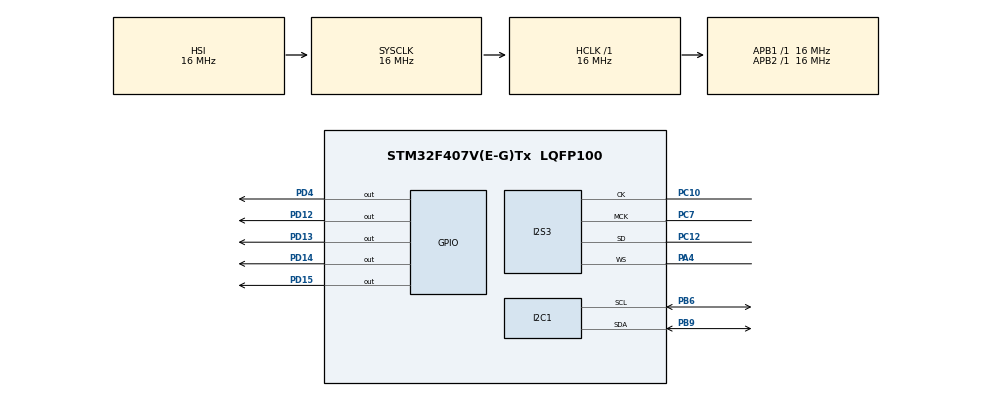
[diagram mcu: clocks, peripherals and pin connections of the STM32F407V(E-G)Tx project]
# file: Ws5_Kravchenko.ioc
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Dma.Request0=SPI3_TX
Dma.SPI3_TX.0.Direction=DMA_MEMORY_TO_PERIPH
Dma.SPI3_TX.0.FIFOMode=DMA_FIFOMODE_ENABLE
Dma.SPI3_TX.0.FIFOThreshold=DMA_FIFO_THRESHOLD_FULL
Dma.SPI3_TX.0.Instance=DMA1_Stream5
Dma.SPI3_TX.0.MemBurst=DMA_MBURST_SINGLE
Dma.SPI3_TX.0.MemDataAlignment=DMA_MDATAALIGN_HALFWORD
Dma.SPI3_TX.0.MemInc=DMA_MINC_ENABLE
Dma.SPI3_TX.0.Mode=DMA_CIRCULAR
Dma.SPI3_TX.0.PeriphBurst=DMA_PBURST_SINGLE
Dma.SPI3_TX.0.PeriphDataAlignment=DMA_PDATAALIGN_HALFWORD
Dma.SPI3_TX.0.PeriphInc=DMA_PINC_DISABLE
Dma.SPI3_TX.0.Priority=DMA_PRIORITY_LOW
I2S3.AudioFreq=I2S_AUDIOFREQ_48K
I2S3.ErrorAudioFreq=-2.34 %
I2S3.FullDuplexMode=I2S_FULLDUPLEXMODE_DISABLE
I2S3.Instance=SPI$Index
I2S3.RealAudioFreq=46.875 KHz
I2S3.VirtualMode=I2S_MODE_MASTER
Mcu.Family=STM32F4
Mcu.Name=STM32F407V(E-G)Tx
Mcu.Package=LQFP100
NVIC.DMA1_Stream5_IRQn=true\:0\:0\:false\:false\:true\:false\:true\:true
NVIC.PriorityGroup=NVIC_PRIORITYGROUP_4
PA4.Mode=Half_Duplex_Master
PA4.Signal=I2S3_WS
PB6.Mode=I2C
PB6.Signal=I2C1_SCL
PB9.Mode=I2C
PB9.Signal=I2C1_SDA
PC10.Mode=Half_Duplex_Master
PC10.Signal=I2S3_CK
PC12.Mode=Half_Duplex_Master
PC12.Signal=I2S3_SD
PC7.Mode=Master_Clock_Activated
PC7.Signal=I2S3_MCK
PD12.Signal=GPIO_Output
PD13.Signal=GPIO_Output
PD14.Signal=GPIO_Output
PD15.Signal=GPIO_Output
PD4.Signal=GPIO_Output
ProjectManager.HeapSize=0x200
ProjectManager.StackSize=0x400
ProjectManager.TargetToolchain=STM32CubeIDE
RCC.AHBFreq_Value=16000000
RCC.APB1Freq_Value=16000000
RCC.APB2Freq_Value=16000000
RCC.CortexFreq_Value=16000000
RCC.HSE_VALUE=25000000
RCC.HSI_VALUE=16000000
RCC.LSE_VALUE=32768
RCC.SYSCLKFreq_VALUE=16000000
RCC.VCOOutputFreq_Value=192000000
board=custom

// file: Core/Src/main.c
/* USER CODE BEGIN Header */
/**
  ******************************************************************************
  * @file           : main.c
  * @brief          : Main program body
  ******************************************************************************
  * @attention
  *
  * Copyright (c) 2024 STMicroelectronics.
  * All rights reserved.
  *
  * This software is licensed under terms that can be found in the LICENSE file
  * in the root directory of this software component.
  * If no LICENSE file comes with this software, it is provided AS-IS.
  *
  ******************************************************************************
  */
/* USER CODE END Header */
#include "main.h"

/* USER CODE BEGIN PTD */
typedef enum
{
	C4,
	C5,
	D5,
	E5,
	F5,
	G5,
	A5,
	B5,
	C6,
	D6,
	E6,
	F6,
	G6,
	A6,
	B6,
	C7
} soundToneType;
/* USER CODE END PTD */

/* USER CODE BEGIN PD */
#define CS43L22_I2C_ADDRESS		0x94
#define I2C_TIMEOUT				10
/* USER CODE END PD */

I2C_HandleTypeDef hi2c1;

I2S_HandleTypeDef hi2s3;
DMA_HandleTypeDef hdma_spi3_tx;

/* USER CODE BEGIN PV */
int16_t dataI2S[100] = {0};

/* USER CODE END PV */

void SystemClock_Config(void);
static void MX_GPIO_Init(void);
static void MX_DMA_Init(void);
static void MX_I2C1_Init(void);
static void MX_I2S3_Init(void);

/* USER CODE BEGIN 0 */
void CS43L22_Init(void)
{
	// Enable chip
	HAL_GPIO_WritePin(GPIOD, GPIO_PIN_4, GPIO_PIN_SET);

	//
	// Initialization
	//
	uint8_t TxBuffer[2];

	TxBuffer[0] = 0x0D;
	TxBuffer[1] = 0x01;
	HAL_I2C_Master_Transmit(&hi2c1, CS43L22_I2C_ADDRESS, (uint8_t*) &TxBuffer, 2, I2C_TIMEOUT);

	TxBuffer[0] = 0x00;
	TxBuffer[1] = 0x99;
	HAL_I2C_Master_Transmit(&hi2c1, CS43L22_I2C_ADDRESS, (uint8_t*) &TxBuffer, 2, I2C_TIMEOUT);

	TxBuffer[0] = 0x47;
	TxBuffer[1] = 0x80;
	HAL_I2C_Master_Transmit(&hi2c1, CS43L22_I2C_ADDRESS, (uint8_t*) &TxBuffer, 2, I2C_TIMEOUT);

	TxBuffer[0] = 0x32;
	TxBuffer[1] = 0xFF;
	HAL_I2C_Master_Transmit(&hi2c1, CS43L22_I2C_ADDRESS, (uint8_t*) &TxBuffer, 2, I2C_TIMEOUT);

	TxBuffer[0] = 0x32;
	TxBuffer[1] = 0x7F;
	HAL_I2C_Master_Transmit(&hi2c1, CS43L22_I2C_ADDRESS, (uint8_t*) &TxBuffer, 2, I2C_TIMEOUT);

	TxBuffer[0] = 0x00;
	TxBuffer[1] = 0x00;
	HAL_I2C_Master_Transmit(&hi2c1, CS43L22_I2C_ADDRESS, (uint8_t*) &TxBuffer, 2, I2C_TIMEOUT);

	TxBuffer[0] = 0x04;
	TxBuffer[1] = 0xAF;
	HAL_I2C_Master_Transmit(&hi2c1, CS43L22_I2C_ADDRESS, (uint8_t*) &TxBuffer, 2, I2C_TIMEOUT);

	TxBuffer[0] = 0x0D;
	TxBuffer[1] = 0x70;
	HAL_I2C_Master_Transmit(&hi2c1, CS43L22_I2C_ADDRESS, (uint8_t*) &TxBuffer, 2, I2C_TIMEOUT);

	TxBuffer[0] = 0x05;
	TxBuffer[1] = 0x81;
	HAL_I2C_Master_Transmit(&hi2c1, CS43L22_I2C_ADDRESS, (uint8_t*) &TxBuffer, 2, I2C_TIMEOUT);

	TxBuffer[0] = 0x06;
	TxBuffer[1] = 0x07;
	HAL_I2C_Master_Transmit(&hi2c1, CS43L22_I2C_ADDRESS, (uint8_t*) &TxBuffer, 2, I2C_TIMEOUT);

	TxBuffer[0] = 0x0A;
	TxBuffer[1] = 0x00;
	HAL_I2C_Master_Transmit(&hi2c1, CS43L22_I2C_ADDRESS, (uint8_t*) &TxBuffer, 2, I2C_TIMEOUT);

	TxBuffer[0] = 0x27;
	TxBuffer[1] = 0x00;
	HAL_I2C_Master_Transmit(&hi2c1, CS43L22_I2C_ADDRESS, (uint8_t*) &TxBuffer, 2, I2C_TIMEOUT);

	TxBuffer[0] = 0x1A;
	TxBuffer[1] = 0x0A;
	HAL_I2C_Master_Transmit(&hi2c1, CS43L22_I2C_ADDRESS, (uint8_t*) &TxBuffer, 2, I2C_TIMEOUT);

	TxBuffer[0] = 0x1B;
	TxBuffer[1] = 0x0A;
	HAL_I2C_Master_Transmit(&hi2c1, CS43L22_I2C_ADDRESS, (uint8_t*) &TxBuffer, 2, I2C_TIMEOUT);

	TxBuffer[0] = 0x1F;
	TxBuffer[1] = 0x0F;
	HAL_I2C_Master_Transmit(&hi2c1, CS43L22_I2C_ADDRESS, (uint8_t*) &TxBuffer, 2, I2C_TIMEOUT);

	TxBuffer[0] = 0x02;
	TxBuffer[1] = 0x9E;
	HAL_I2C_Master_Transmit(&hi2c1, CS43L22_I2C_ADDRESS, (uint8_t*) &TxBuffer, 2, I2C_TIMEOUT);
}

void CS43L22_Beep(soundToneType pitch, uint32_t duration_ms)
{
	uint8_t TxBuffer[2];

	// Set volume and off time
	TxBuffer[0] = 0x1D;
	TxBuffer[1] = 0x00;
	HAL_I2C_Master_Transmit(&hi2c1, CS43L22_I2C_ADDRESS, (uint8_t*) &TxBuffer, 2, I2C_TIMEOUT);

	// Set sound frequency
	TxBuffer[0] = 0x1C;
	switch (pitch)
	{
		case C4:
			TxBuffer[1] = 0x00;
			break;
		case C5:
			TxBuffer[1] = 0x10;
			break;
		case D5:
			TxBuffer[1] = 0x20;
			break;
		case E5:
			TxBuffer[1] = 0x30;
			break;
		case F5:
			TxBuffer[1] = 0x40;
			break;
		case G5:
			TxBuffer[1] = 0x50;
			break;
		case A5:
			TxBuffer[1] = 0x60;
			break;
		case B5:
			TxBuffer[1] = 0x70;
			break;
		case C6:
			TxBuffer[1] = 0x80;
			break;
		case D6:
			TxBuffer[1] = 0x90;
			break;
		case E6:
			TxBuffer[1] = 0xA0;
			break;
		case F6:
			TxBuffer[1] = 0xB0;
			break;
		case G6:
			TxBuffer[1] = 0xC0;
			break;
		case A6:
			TxBuffer[1] = 0xD0;
			break;
		case B6:
			TxBuffer[1] = 0xE0;
			break;
		case C7:
			TxBuffer[1] = 0xF0;
			break;

		default:
			TxBuffer[1] = 0x00;
			break;
	}
	HAL_I2C_Master_Transmit(&hi2c1, CS43L22_I2C_ADDRESS, (uint8_t*) &TxBuffer, 2, I2C_TIMEOUT);

	// Enable continuous mode (SOUND STARTED)
	TxBuffer[0] = 0x1E;		// Register address
	TxBuffer[1] = 0xC0;		// Value (beep and tone configuration)
	HAL_I2C_Master_Transmit(&hi2c1, CS43L22_I2C_ADDRESS, (uint8_t*) &TxBuffer, 2, I2C_TIMEOUT);

	// Playing...
	HAL_Delay(duration_ms);

	// Disable continuous mode (SOUND STOPED)
	TxBuffer[0] = 0x1E;		// Register address
	TxBuffer[1] = 0x00;		// Value (beep and tone configuration)
	HAL_I2C_Master_Transmit(&hi2c1, CS43L22_I2C_ADDRESS, (uint8_t*) &TxBuffer, 2, I2C_TIMEOUT);
}
/* USER CODE END 0 */

int main(void)
{

  /* MCU Configuration--------------------------------------------------------*/

  /* Reset of all peripherals, Initializes the Flash interface and the Systick. */
  HAL_Init();

  /* Configure the system clock */
  SystemClock_Config();

  /* Initialize all configured peripherals */
  MX_GPIO_Init();
  MX_DMA_Init();
  MX_I2C1_Init();
  MX_I2S3_Init();
  /* USER CODE BEGIN 2 */
  // Init DAC
    CS43L22_Init();

    // Transmit empty data
    HAL_I2S_Transmit_DMA(&hi2s3, (uint16_t *)dataI2S, 100);
  /* USER CODE END 2 */

  /* Infinite loop */
    const soundToneType you_are_my_sunshine[] = {
    		 C5, F5, G5, A5, A5, A5, G5, A5, F5, F5,// // You are my sunshine, my only sunshine
    		        F5, G5, A5, C6, E6, E6, D6, C6, A5, F5, // You make me happy, when skies are gray
    		        F5, G5, A5, C6, E6, E6, D6, C6, A5, F5,    // You'll never know dear, how much I love you
    		        F5, G5, A5, C6, B5, B5, C6, A5               // Please don't take my sunshine away
    };

    const uint32_t notes_time[] = {
        400, 400, 400, 1000, 1000, 400, 400, 400, 1000, 1000, // You are my sunshine, my only sunshine
        400, 400, 400, 1000, 1000, 400, 400, 400, 1000, 1000, // You make me happy, when skies are gray
        400, 400, 400, 1000, 1000, 400, 400, 400, 1000, 1000,  // You'll never know dear, how much I love you
		400, 400, 1000, 400, 400, 400, 400, 2000                      // Please don't take my sunshine away
    };

    const int you_are_my_sunshine_length = sizeof(you_are_my_sunshine) / sizeof(you_are_my_sunshine[0]);

      while (1)
      {

    	  for (int i = 0; i < 3; i++) {
    	      	          for (int index = 0; index < you_are_my_sunshine_length; index++) {
    	      	              soundToneType Frequency = you_are_my_sunshine[index];
    	      	              uint32_t duration = notes_time[index];

    	      	              switch (Frequency) {
    	      	                  case C5:
    	      	                	  HAL_GPIO_WritePin(GPIOD, GPIO_PIN_12, GPIO_PIN_SET);
    	      	                	  break;
    	      	                  case D5:
    	      	                      HAL_GPIO_WritePin(GPIOD, GPIO_PIN_13, GPIO_PIN_SET);
    	      	                      break;
    	      	                  case E5:
    	      	                      HAL_GPIO_WritePin(GPIOD, GPIO_PIN_14, GPIO_PIN_SET);
    	      	                      break;
    	      	                  case F5:
    	      	                      HAL_GPIO_WritePin(GPIOD, GPIO_PIN_15, GPIO_PIN_SET);
    	      	                      break;
    	      	                  case G5:
    	      	                      HAL_GPIO_WritePin(GPIOD, GPIO_PIN_13, GPIO_PIN_SET);
    	      	                      break;
    	      	                  case A5:
    	      	                      HAL_GPIO_WritePin(GPIOD, GPIO_PIN_14, GPIO_PIN_SET);
    	      	                      break;
    	      	                  default:
    	      	                      HAL_GPIO_WritePin(GPIOD, GPIO_PIN_12, GPIO_PIN_SET);
    	      	                      HAL_GPIO_WritePin(GPIOD, GPIO_PIN_13, GPIO_PIN_SET);
    	      	                      HAL_GPIO_WritePin(GPIOD, GPIO_PIN_14, GPIO_PIN_SET);
    	      	                      HAL_GPIO_WritePin(GPIOD, GPIO_PIN_15, GPIO_PIN_SET);
    	      	                      break;
    	      	              }

    	      	              CS43L22_Beep(Frequency, duration);
    	      	              HAL_Delay(50);  // Add a short delay between notes

    	      	              HAL_GPIO_WritePin(GPIOD, GPIO_PIN_12, GPIO_PIN_RESET);
    	      	              HAL_GPIO_WritePin(GPIOD, GPIO_PIN_13, GPIO_PIN_RESET);
    	      	              HAL_GPIO_WritePin(GPIOD, GPIO_PIN_14, GPIO_PIN_RESET);
    	      	              HAL_GPIO_WritePin(GPIOD, GPIO_PIN_15, GPIO_PIN_RESET);
    	      	          }
    	      	      }
    	      	      return 0;

    /* USER CODE END WHILE */

  }
}

void SystemClock_Config(void)
{
  RCC_OscInitTypeDef RCC_OscInitStruct = {0};
  RCC_ClkInitTypeDef RCC_ClkInitStruct = {0};

  /** Macro to configure the PLL multiplication factor
  */
  __HAL_RCC_PLL_PLLM_CONFIG(16);

  /** Macro to configure the PLL clock source
  */
  __HAL_RCC_PLL_PLLSOURCE_CONFIG(RCC_PLLSOURCE_HSI);

  /** Configure the main internal regulator output voltage
  */
  __HAL_RCC_PWR_CLK_ENABLE();
  __HAL_PWR_VOLTAGESCALING_CONFIG(PWR_REGULATOR_VOLTAGE_SCALE1);

  /** Initializes the RCC Oscillators according to the specified parameters
  * in the RCC_OscInitTypeDef structure.
  */
  RCC_OscInitStruct.OscillatorType = RCC_OSCILLATORTYPE_HSI;
  RCC_OscInitStruct.HSIState = RCC_HSI_ON;
  RCC_OscInitStruct.HSICalibrationValue = RCC_HSICALIBRATION_DEFAULT;
  RCC_OscInitStruct.PLL.PLLState = RCC_PLL_NONE;
  RCC_OscInitStruct.PLL.PLLSource = RCC_PLLSOURCE_HSI;
  if (HAL_RCC_OscConfig(&RCC_OscInitStruct) != HAL_OK)
  {
    Error_Handler();
  }

  /** Initializes the CPU, AHB and APB buses clocks
  */
  RCC_ClkInitStruct.ClockType = RCC_CLOCKTYPE_HCLK|RCC_CLOCKTYPE_SYSCLK
                              |RCC_CLOCKTYPE_PCLK1|RCC_CLOCKTYPE_PCLK2;
  RCC_ClkInitStruct.SYSCLKSource = RCC_SYSCLKSOURCE_HSI;
  RCC_ClkInitStruct.AHBCLKDivider = RCC_SYSCLK_DIV1;
  RCC_ClkInitStruct.APB1CLKDivider = RCC_HCLK_DIV1;
  RCC_ClkInitStruct.APB2CLKDivider = RCC_HCLK_DIV1;

  if (HAL_RCC_ClockConfig(&RCC_ClkInitStruct, FLASH_LATENCY_0) != HAL_OK)
  {
    Error_Handler();
  }
}

static void MX_I2C1_Init(void)
{

  hi2c1.Instance = I2C1;
  hi2c1.Init.ClockSpeed = 100000;
  hi2c1.Init.DutyCycle = I2C_DUTYCYCLE_2;
  hi2c1.Init.OwnAddress1 = 0;
  hi2c1.Init.AddressingMode = I2C_ADDRESSINGMODE_7BIT;
  hi2c1.Init.DualAddressMode = I2C_DUALADDRESS_DISABLE;
  hi2c1.Init.OwnAddress2 = 0;
  hi2c1.Init.GeneralCallMode = I2C_GENERALCALL_DISABLE;
  hi2c1.Init.NoStretchMode = I2C_NOSTRETCH_DISABLE;
  if (HAL_I2C_Init(&hi2c1) != HAL_OK)
  {
    Error_Handler();
  }

}

static void MX_I2S3_Init(void)
{

  hi2s3.Instance = SPI3;
  hi2s3.Init.Mode = I2S_MODE_MASTER_TX;
  hi2s3.Init.Standard = I2S_STANDARD_PHILIPS;
  hi2s3.Init.DataFormat = I2S_DATAFORMAT_16B;
  hi2s3.Init.MCLKOutput = I2S_MCLKOUTPUT_ENABLE;
  hi2s3.Init.AudioFreq = I2S_AUDIOFREQ_48K;
  hi2s3.Init.CPOL = I2S_CPOL_LOW;
  hi2s3.Init.ClockSource = I2S_CLOCK_PLL;
  hi2s3.Init.FullDuplexMode = I2S_FULLDUPLEXMODE_DISABLE;
  if (HAL_I2S_Init(&hi2s3) != HAL_OK)
  {
    Error_Handler();
  }

}

static void MX_DMA_Init(void)
{

  /* DMA controller clock enable */
  __HAL_RCC_DMA1_CLK_ENABLE();

  /* DMA interrupt init */
  /* DMA1_Stream5_IRQn interrupt configuration */
  HAL_NVIC_SetPriority(DMA1_Stream5_IRQn, 0, 0);
  HAL_NVIC_EnableIRQ(DMA1_Stream5_IRQn);

}

static void MX_GPIO_Init(void)
{
  GPIO_InitTypeDef GPIO_InitStruct = {0};

  /* GPIO Ports Clock Enable */
  __HAL_RCC_GPIOA_CLK_ENABLE();
  __HAL_RCC_GPIOD_CLK_ENABLE();
  __HAL_RCC_GPIOC_CLK_ENABLE();
  __HAL_RCC_GPIOB_CLK_ENABLE();

  /*Configure GPIO pin Output Level */
  HAL_GPIO_WritePin(GPIOD, GPIO_PIN_12|GPIO_PIN_13|GPIO_PIN_14|GPIO_PIN_15
                          |GPIO_PIN_4, GPIO_PIN_RESET);

  /*Configure GPIO pins : PD12 PD13 PD14 PD15
                           PD4 */
  GPIO_InitStruct.Pin = GPIO_PIN_12|GPIO_PIN_13|GPIO_PIN_14|GPIO_PIN_15
                          |GPIO_PIN_4;
  GPIO_InitStruct.Mode = GPIO_MODE_OUTPUT_PP;
  GPIO_InitStruct.Pull = GPIO_NOPULL;
  GPIO_InitStruct.Speed = GPIO_SPEED_FREQ_LOW;
  HAL_GPIO_Init(GPIOD, &GPIO_InitStruct);

}

void Error_Handler(void)
{
  __disable_irq();
  while (1)
  {
  }
}
